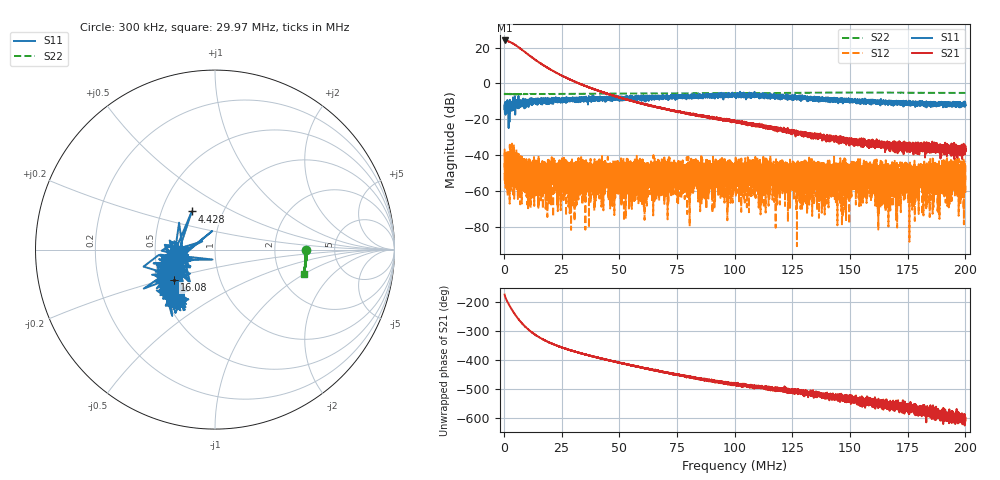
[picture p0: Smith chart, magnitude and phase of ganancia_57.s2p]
# Hz S DB R 50
! CMT, M5065, 19127446, 24.2.4/2
! Date: 11/8/2024 5:34:15 PM
! Data: Format (Calibration Info)
! Freq	S11:dB/Ang(F2)	S21:dB/Ang(F2)	S12:dB/Ang(F2)	S22:dB/Ang(F2)
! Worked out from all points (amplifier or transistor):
!   9000 points, 300 kHz to 200 MHz, reference 50 ohm
!   highest |S21| = 24.0 dB at 433.1 kHz (marker M1)
!   |S21| within 3 dB of that: start of sweep to 5.481 MHz
!   unconditionally stable (mu >= 1): start of sweep to end of sweep
!   at 33.59 MHz: K = 68.05, MAG = 1.3 dB, |S12| = -45.8 dB
!   at 100.2 MHz: K = 1179.84, MAG = -18.4 dB, |S12| = -51.6 dB
!   at 200 MHz: K = 3789.17, MAG = -35.8 dB, |S12| = -43.6 dB
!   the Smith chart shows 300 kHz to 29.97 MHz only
!   S11 on the Smith chart (normalised r, x): 300 kHz: 0.59, -0.06; 4.428 MHz: 0.71, +0.32; 16.08 MHz: 0.60, -0.22; 29.97 MHz: 0.54, -0.36
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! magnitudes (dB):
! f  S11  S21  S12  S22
! 300 kHz  -11.7  23.9  -54.1  -5.9
! 433.1 kHz  -16.3  24.0  -44.1  -5.9
! 1.299 MHz  -14.4  23.7  -40.7  -5.9
! 4.428 MHz  -12.1  21.8  -43.7  -5.8
! 12.68 MHz  -8.8  14.1  -62.9  -5.9
! 16.08 MHz  -11.0  11.0  -65.2  -5.8
! 26.93 MHz  -8.9  3.2  -73.8  -5.8
! 29.97 MHz  -8.5  1.5  -47.5  -5.8
! 33.59 MHz  -9.6  -0.5  -45.8  -5.7
! 66.87 MHz  -8.0  -13.1  -48.2  -5.5
! 100.2 MHz  -6.6  -20.9  -51.6  -5.4
! 133.4 MHz  -8.1  -29.7  -42.1  -5.2
! 149.3 MHz  -9.9  -33.2  -57.8  -5.1
! 160.5 MHz  -9.8  -34.6  -46.2  -5.1
! 166.7 MHz  -10.6  -34.3  -52.5  -5.1
! 174.5 MHz  -11.3  -35.6  -51.5  -5.2
! 188.6 MHz  -10.5  -37.6  -50.5  -5.2
! 190.1 MHz  -11.3  -36.6  -51.2  -5.2
! 193.2 MHz  -12.0  -38.4  -46.6  -5.2
! 195.2 MHz  -12.6  -36.5  -52.3  -5.3
! 198.9 MHz  -10.7  -36.9  -51.9  -5.3
! 200 MHz  -12.2  -37.6  -43.6  -5.3
